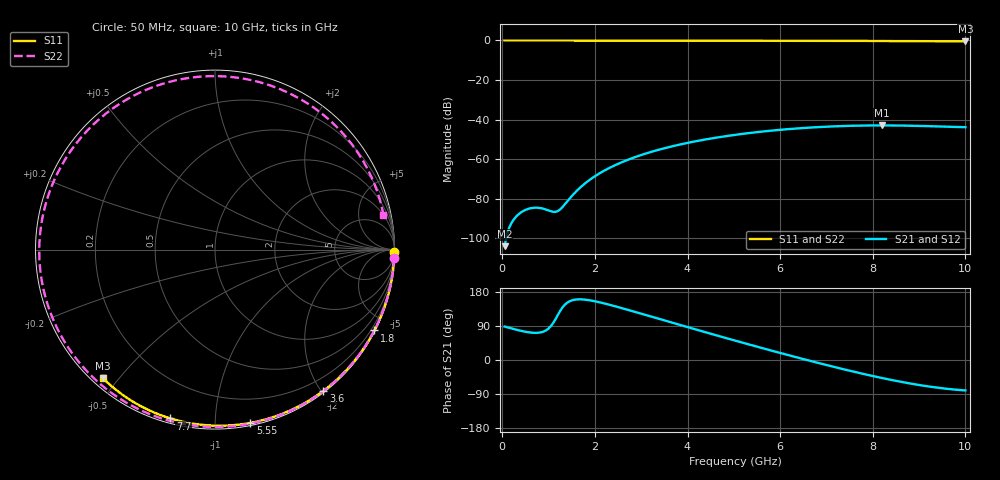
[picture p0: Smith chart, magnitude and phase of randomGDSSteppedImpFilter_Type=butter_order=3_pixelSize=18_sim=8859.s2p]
! freq	dB(S11)	phase(S11)	dB(S12)	phase(S12)
!  dB(S21)	phase(S21)	dB(S22)	phase(S22)
!S-par simulation data
#  GHz  S  DB  R 50
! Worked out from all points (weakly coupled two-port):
!   200 points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, 50 MHz to 10 GHz, reference 50 ohm
!   highest |S21| = -42.99 dB at 8.2 GHz (marker M1); lowest = -104.1 dB at 50 MHz (marker M2)
!   lowest |S11| = -0.4 dB at 10 GHz (marker M3), VSWR 39.17, Z = 1.54 - j22.7 ohm
!   |S11| at or under -10 dB: nowhere
!   |S22| runs from -0.4 to 0.0 dB; largest |S21 - S12| = 0
!   S11 on the Smith chart (normalised r, x): 50 MHz: open; 1.8 GHz: 0.04, -4.19; 3.6 GHz: 0.02, -2.03; 5.55 GHz: 0.02, -1.22; 7.7 GHz: 0.02, -0.77; 10 GHz: 0.03, -0.45
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0.05  -0.00 -0.8  -104.08 88.3  -104.08 88.3  -0.00 -2.8
0.4  -0.01 -6.0  -87.05 77.1  -87.05 77.1  -0.03 -21.9
0.8  -0.02 -12.0  -84.73 72.3  -84.73 72.3  -0.06 -43.1
1.15  -0.02 -17.3  -86.71 108.0  -86.71 108.0  -0.07 -60.8
1.45  -0.03 -21.7  -80.11 154.7  -80.11 154.7  -0.09 -75.1
1.75  -0.03 -26.1  -73.03 159.7  -73.03 159.7  -0.10 -88.7
1.8  -0.03 -26.9  -72.07 159.1  -72.07 159.1  -0.10 -90.8
2.45  -0.05 -36.3  -62.96 141.3  -62.96 141.3  -0.12 -117.3
2.95  -0.06 -43.4  -58.35 124.0  -58.35 124.0  -0.14 -135.6
3.4  -0.07 -49.8  -55.16 108.0  -55.16 108.0  -0.15 -150.9
3.6  -0.07 -52.5  -53.95 100.9  -53.95 100.9  -0.16 -157.4
4.3  -0.09 -62.1  -50.46 76.2  -50.46 76.2  -0.18 -179.1
5.05  -0.11 -72.0  -47.68 50.4  -47.68 50.4  -0.21 158.8
5.55  -0.13 -78.5  -46.25 33.5  -46.25 33.5  -0.23 144.4
6.15  -0.15 -86.1  -44.91 13.7  -44.91 13.7  -0.25 127.1
6.7  -0.18 -92.8  -44.00 -3.9  -44.00 -3.9  -0.27 111.2
7.2  -0.21 -98.9  -43.43 -19.3  -43.43 -19.3  -0.29 96.5
7.7  -0.24 -104.8  -43.10 -34.0  -43.10 -34.0  -0.30 81.7
8.2  -0.28 -110.7  -42.99 -47.6  -42.99 -47.6  -0.31 66.6
8.35  -0.29 -112.4  -43.00 -51.4  -43.00 -51.4  -0.32 62.1
9.2  -0.36 -122.1  -43.36 -69.7  -43.36 -69.7  -0.34 36.2
10  -0.44 -131.1  -43.89 -80.3  -43.89 -80.3  -0.37 11.8
